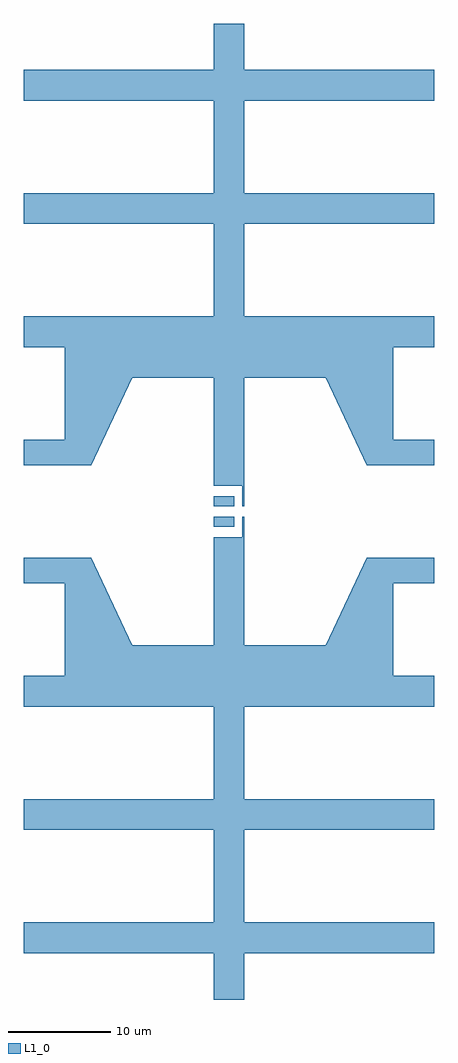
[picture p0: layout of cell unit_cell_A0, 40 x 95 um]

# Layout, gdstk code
from math import pi, radians
import gdstk
lib = gdstk.Library(unit=1e-6, precision=1e-09)
def R(c, l, rs):  # rectangles x0, y0, x1, y1
    for r in rs: c.add(gdstk.rectangle(r[:2], r[2:], *l))
def P(c, l, *ps):  # polygons
    for p in ps: c.add(gdstk.Polygon(p, *l))
L1_0 = (1, 0)

unnamed_12 = lib.new_cell('Unnamed_12')
P(unnamed_12, L1_0, [(18.5,0),(18.5,4.5),(0,4.5),(0,7.5),(18.5,7.5),(18.5,16.5),(0,16.5),(0,19.5),(18.5,19.5),(18.5,28.5),(0,28.5),(0,31.5),(4,31.5),(4,40.5),(0,40.5),(0,43),(6.597,43),(10.596,34.5),(18.5,34.5),(18.5,45),(20,45),(20,0)])

unnamed_13 = lib.new_cell('Unnamed_13')
unnamed_13.add(gdstk.Reference(unnamed_12, (0,0)))

rectangle_s2_1_lwg_cfal_ = lib.new_cell('rectangle_S2_1_LWG_CFal_a0a9c26d')
R(rectangle_s2_1_lwg_cfal_, L1_0, [(0,0,2,1)])

rectangle_s0p2_2_lwg_cf_ = lib.new_cell('rectangle_S0p2_2_LWG_CF_9ef6d549')
R(rectangle_s0p2_2_lwg_cf_, L1_0, [(0,0,0.2,2)])

unnamed_18 = lib.new_cell('Unnamed_18')
unnamed_18.add(gdstk.Reference(rectangle_s2_1_lwg_cfal_, (0,-1.5)))
unnamed_18.add(gdstk.Reference(rectangle_s0p2_2_lwg_cf_, (2.8,-2.5)))

unit_cell_a0 = lib.new_cell('unit_cell_A0')
unit_cell_a0.add(gdstk.Reference(unnamed_13, (0,0)))
unit_cell_a0.add(gdstk.Reference(unnamed_13, (40,0), rotation=pi, x_reflection=True))
unit_cell_a0.add(gdstk.Reference(unnamed_13, (0,95), x_reflection=True))
unit_cell_a0.add(gdstk.Reference(unnamed_13, (40,95), rotation=pi))
unit_cell_a0.add(gdstk.Reference(unnamed_18, (18.5,47.5)))
unit_cell_a0.add(gdstk.Reference(unnamed_18, (18.5,47.5), x_reflection=True))

lib.write_gds('unit_cell_A0.gds')
